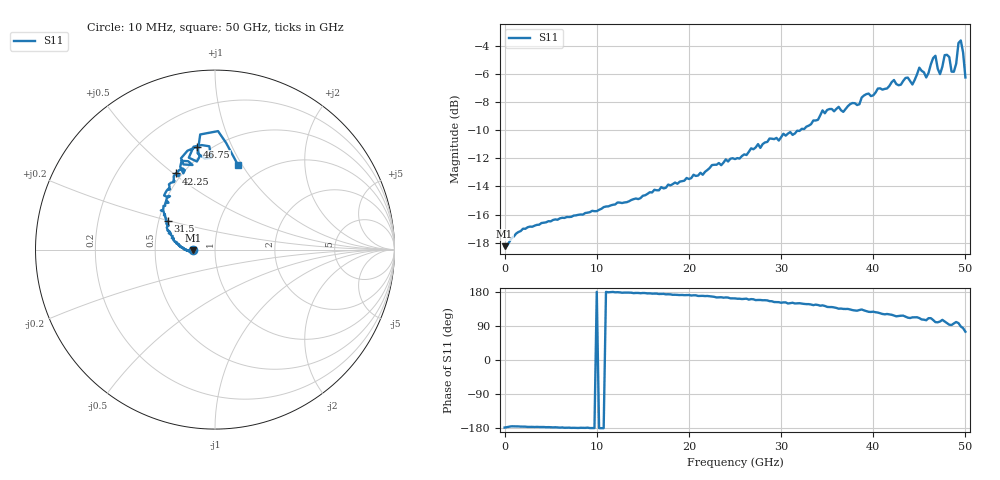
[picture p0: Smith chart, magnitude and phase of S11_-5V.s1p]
!Agilent Technologies,N5227A,US51270434,A.10.00.00
!Agilent N5227A: A.10.00.00
!Date: Thursday, February 26, 2026 12:52:11
!Correction: S11(Full 1 Port(1))
!S1P File: Measurement: S11:
# Hz S  dB  R 50
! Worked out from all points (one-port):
!   201 points, 10 MHz to 50 GHz, reference 50 ohm
!   lowest |S11| = -18.3 dB at 10 MHz (marker M1), VSWR 1.28, Z = 39.1 - j0.298 ohm
!   |S11| at or under -10 dB: start of sweep to 32.08 GHz
!   S11 on the Smith chart (normalised r, x): 10 MHz: 0.78, -0.01; 31.5 GHz: 0.56, +0.19; 42.25 GHz: 0.46, +0.51; 46.75 GHz: 0.43, +0.75; 50 GHz: 0.78, +0.96
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1e7  -18.25 -178.2
2.0096e9  -17.01 -175.8
6.25875e9  -16.23 -178.0
1.25075e10  -15.15 178.4
1.875625e10  -13.81 171.8
2.5005e10  -12.05 162.5
3.125375e10  -10.33 151.0
3.15037e10  -10.23 149.2
3.45031e10  -8.58 144.1
3.75025e10  -8.13 133.3
4.225155e10  -6.42 117.3
4.375125e10  -6.25 111.8
4.425115e10  -6.74 112.5
4.475105e10  -6.02 112.8
4.5001e10  -5.54 110.7
4.575085e10  -6.24 104.9
4.625075e10  -5.31 110.4
4.675065e10  -4.70 99.9
4.725055e10  -6.00 101.6
4.75005e10  -5.47 105.9
4.80004e10  -4.63 97.3
4.85003e10  -5.82 92.3
4.875025e10  -5.83 96.5
4.90002e10  -5.26 100.2
4.925015e10  -3.79 97.3
4.95001e10  -3.60 88.5
4.975005e10  -4.46 84.1
5e10  -6.24 74.7
